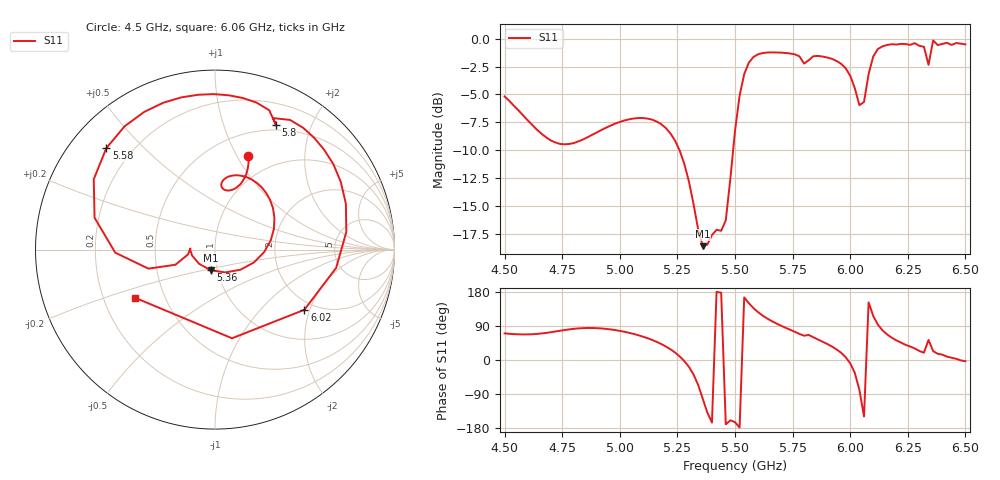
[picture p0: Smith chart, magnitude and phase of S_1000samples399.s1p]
! TOUCHSTONE file generated by CST MICROWAVE STUDIO
! Date and time: Fri Oct 28 01:06:19 2022
! Project name: L.cst
! Parameters = {Di=1.27; Epsilon_r=1.56; InnerDiameter=1.27; Length=2; Lf=10; Lg=60; OuterConductorThickness=0.2921; OuterDiameter=3.6; Wf=3; Wp=41.2; de=1.5; df=6.8; g=0.8; gx=1.23213; gy=3.42968; h=2.34; hf=1.524; px=14.025; py=9.01689; w=9.7; wx=12.7928; wy=5.58721}
! Header version: 2018
! Port assignment regex: !\s*Touchstone port\s*([0-9]+)\s*=\s*(CST MWS port|CST DS port)\s*([0-9]+|Zmin|Zmax)\s*\(\"(.*)\"\)(\s*mode\s*([0-9]+))?.*
! Touchstone port assignment:
! Touchstone port 1 = CST MWS port 1 ("")
# GHz S DB R 50
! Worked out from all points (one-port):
!   101 points, 4.5 GHz to 6.5 GHz, reference 50 ohm
!   lowest |S11| = -18.6 dB at 5.36 GHz (marker M1), VSWR 1.27, Z = 46.4 - j10.8 ohm
!   |S11| at or under -10 dB: 5.259 GHz to 5.492 GHz (232.8 MHz wide, 4.33 % of centre)
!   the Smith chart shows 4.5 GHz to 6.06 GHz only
!   S11 on the Smith chart (normalised r, x): 4.5 GHz: 0.75, +1.11; 5.36 GHz: 0.93, -0.22; 5.58 GHz: 0.11, +0.39; 5.8 GHz: 0.44, +1.51; 6.02 GHz: 1.76, -1.84; 6.06 GHz: 0.34, -0.25
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4.5  -5.18 70.3
4.76  -9.47 79.1
5  -7.47 76.8
5.14  -7.26 53.0
5.26  -10.04 9.3
5.36  -18.62 -102.1
5.46  -16.30 -169.7
5.5  -8.27 -164.0
5.54  -3.17 165.2
5.58  -1.64 137.0
5.66  -1.22 102.5
5.76  -1.40 74.3
5.8  -2.23 64.0
5.9  -1.68 42.4
5.96  -2.24 19.4
6  -3.32 -8.6
6.02  -4.43 -33.9
6.04  -5.97 -79.1
6.06  -5.67 -149.0
6.08  -3.16 152.1
6.1  -1.59 116.1
6.12  -0.92 93.5
6.18  -0.49 58.9
6.26  -0.55 35.7
6.32  -0.72 19.1
6.34  -2.34 53.0
6.36  -0.15 23.4
6.5  -0.50 -3.2
